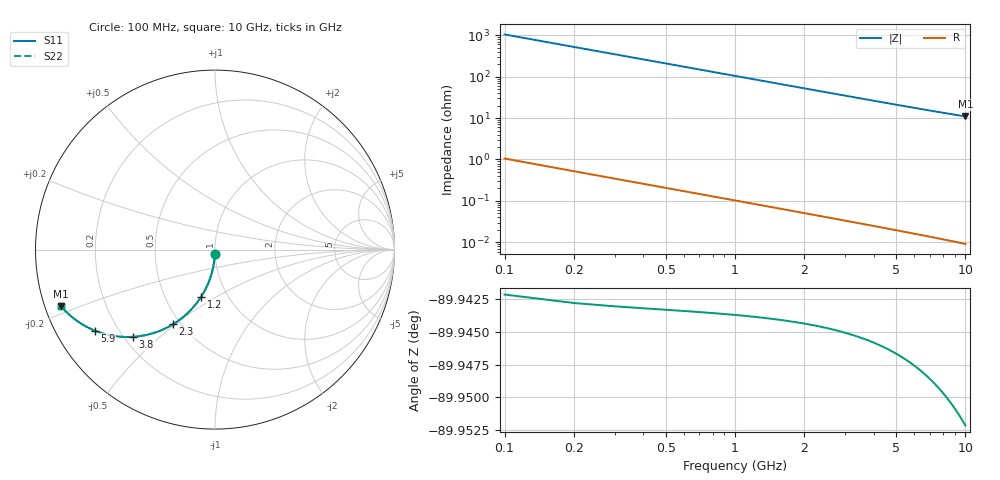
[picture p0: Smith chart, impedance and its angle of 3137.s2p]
# Hz S RI R 50.00
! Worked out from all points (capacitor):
!   100 points, 100 MHz to 10 GHz, reference 50 ohm
!   read as one part in shunt: C = 1.53 pF near 100 MHz
!   lowest |Z| = 11 ohm at 10 GHz (marker M1)
!   S11 on the Smith chart (normalised r, x): 100 MHz: 1.00, -0.05; 1.2 GHz: 0.75, -0.43; 2.3 GHz: 0.46, -0.49; 3.8 GHz: 0.24, -0.41; 5.9 GHz: 0.12, -0.30; 10 GHz: 0.05, -0.18
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1e8  -0.000543 -0.0236  0.9993 -0.0242  0.9993 -0.0242  -0.000543 -0.0236
2e8  -0.00228 -0.0472  0.9976 -0.0484  0.9976 -0.0484  -0.00228 -0.0472
3e8  -0.00515 -0.0706  0.9947 -0.0724  0.9947 -0.0724  -0.00515 -0.0706
4e8  -0.00914 -0.0937  0.9907 -0.0962  0.9907 -0.0962  -0.00914 -0.0937
5e8  -0.0142 -0.1166  0.9857 -0.1196  0.9857 -0.1196  -0.0142 -0.1166
6e8  -0.0203 -0.139  0.9796 -0.1426  0.9796 -0.1426  -0.0203 -0.139
7e8  -0.0275 -0.161  0.9724 -0.1652  0.9724 -0.1652  -0.0275 -0.161
9e8  -0.0446 -0.2033  0.9553 -0.2087  0.9553 -0.2087  -0.0446 -0.2033
1.2e9  -0.0766 -0.2619  0.9233 -0.2692  0.9233 -0.2692  -0.0766 -0.2619
1.5e9  -0.1148 -0.3138  0.8851 -0.3229  0.8851 -0.3229  -0.1148 -0.3138
1.8e9  -0.1574 -0.3583  0.8425 -0.3692  0.8425 -0.3692  -0.1574 -0.3583
2.3e9  -0.2338 -0.4158  0.766 -0.4298  0.766 -0.4298  -0.2338 -0.4158
2.8e9  -0.3117 -0.4542  0.688 -0.4713  0.688 -0.4713  -0.3117 -0.4542
3.4e9  -0.4008 -0.4792  0.5988 -0.5  0.5988 -0.5  -0.4008 -0.4792
3.8e9  -0.4556 -0.4859  0.544 -0.5092  0.544 -0.5092  -0.4556 -0.4859
4.4e9  -0.5293 -0.4851  0.4702 -0.5122  0.4702 -0.5122  -0.5293 -0.4851
5.1e9  -0.6025 -0.473  0.3969 -0.5046  0.3969 -0.5046  -0.6025 -0.473
5.9e9  -0.6707 -0.4509  0.3285 -0.4877  0.3285 -0.4877  -0.6707 -0.4509
6.7e9  -0.7251 -0.4247  0.2739 -0.4667  0.2739 -0.4667  -0.7251 -0.4247
7.5e9  -0.7685 -0.3972  0.2302 -0.4445  0.2302 -0.4445  -0.7685 -0.3972
8.4e9  -0.8072 -0.3666  0.1912 -0.4201  0.1912 -0.4201  -0.8072 -0.3666
1e10  -0.857 -0.3161  0.1407 -0.3807  0.1407 -0.3807  -0.857 -0.3161
